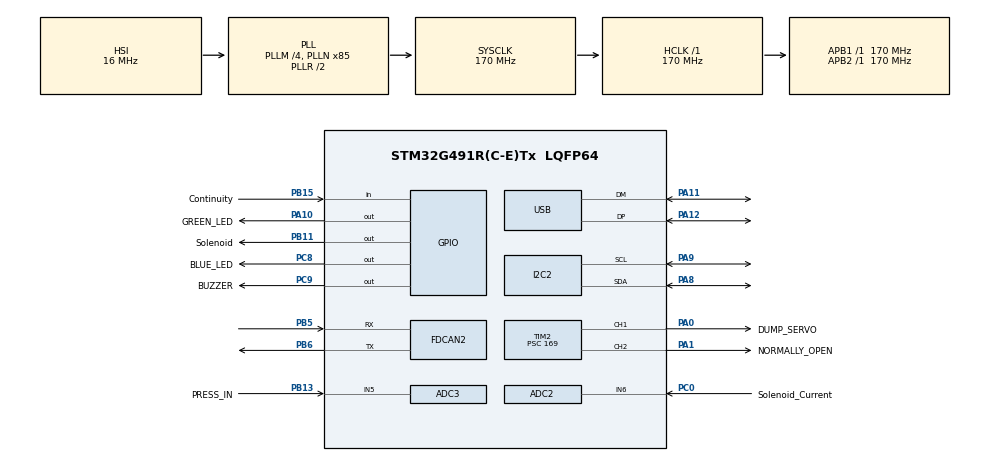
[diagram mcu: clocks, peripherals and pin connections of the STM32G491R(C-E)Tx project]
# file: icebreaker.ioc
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ADC2.Channel-0\#ChannelRegularConversion=ADC_CHANNEL_6
ADC2.NbrOfConversionFlag=1
ADC2.OffsetNumber-0\#ChannelRegularConversion=ADC_OFFSET_NONE
ADC2.Rank-0\#ChannelRegularConversion=1
ADC2.SamplingTime-0\#ChannelRegularConversion=ADC_SAMPLETIME_2CYCLES_5
ADC3.Channel-0\#ChannelRegularConversion=ADC_CHANNEL_5
ADC3.DMAContinuousRequests=ENABLE
ADC3.ExternalTrigConv=ADC_EXTERNALTRIG_T3_TRGO
ADC3.ExternalTrigConvEdge=ADC_EXTERNALTRIGCONVEDGE_RISING
ADC3.NbrOfConversionFlag=1
ADC3.OffsetNumber-0\#ChannelRegularConversion=ADC_OFFSET_NONE
ADC3.Overrun=ADC_OVR_DATA_OVERWRITTEN
ADC3.Rank-0\#ChannelRegularConversion=1
ADC3.SamplingTime-0\#ChannelRegularConversion=ADC_SAMPLETIME_47CYCLES_5
ADC3.master=1
Dma.ADC3.0.Direction=DMA_PERIPH_TO_MEMORY
Dma.ADC3.0.EventEnable=DISABLE
Dma.ADC3.0.Instance=DMA1_Channel1
Dma.ADC3.0.MemDataAlignment=DMA_MDATAALIGN_HALFWORD
Dma.ADC3.0.MemInc=DMA_MINC_ENABLE
Dma.ADC3.0.Mode=DMA_CIRCULAR
Dma.ADC3.0.PeriphDataAlignment=DMA_PDATAALIGN_HALFWORD
Dma.ADC3.0.PeriphInc=DMA_PINC_DISABLE
Dma.ADC3.0.Polarity=HAL_DMAMUX_REQ_GEN_RISING
Dma.ADC3.0.Priority=DMA_PRIORITY_LOW
Dma.ADC3.0.RequestNumber=1
Dma.ADC3.0.SignalID=NONE
Dma.ADC3.0.SyncEnable=DISABLE
Dma.ADC3.0.SyncPolarity=HAL_DMAMUX_SYNC_NO_EVENT
Dma.ADC3.0.SyncRequestNumber=1
Dma.ADC3.0.SyncSignalID=NONE
Dma.Request0=ADC3
FDCAN2.CalculateBaudRateNominal=3541666
FDCAN2.CalculateTimeBitNominal=282
FDCAN2.CalculateTimeQuantumNominal=94.11764705882354
FDCAN2.FrameFormat=FDCAN_FRAME_FD_NO_BRS
FDCAN2.NominalPrescaler=16
FDCAN2.NominalTimeSeg1=1
FDCAN2.NominalTimeSeg2=1
I2C2.Timing=0x00503D58
Mcu.Family=STM32G4
Mcu.Name=STM32G491R(C-E)Tx
Mcu.Package=LQFP64
NVIC.DMA1_Channel1_IRQn=true\:6\:0\:true\:false\:true\:true\:true\:true
NVIC.FDCAN2_IT0_IRQn=true\:6\:0\:true\:false\:true\:true\:true\:true
NVIC.FDCAN2_IT1_IRQn=true\:6\:0\:true\:false\:true\:true\:true\:true
NVIC.PriorityGroup=NVIC_PRIORITYGROUP_4
NVIC.TIM6_DAC_IRQn=true\:15\:0\:false\:false\:true\:false\:true\:true
NVIC.TimeBase=TIM6_DAC_IRQn
NVIC.TimeBaseIP=TIM6
NVIC.USB_LP_IRQn=true\:5\:0\:true\:false\:true\:true\:true\:true
PA0.GPIO_Label=DUMP_SERVO
PA0.Signal=S_TIM2_CH1
PA1.GPIO_Label=NORMALLY_OPEN
PA1.Signal=S_TIM2_CH2
PA10.GPIO_Label=GREEN_LED
PA10.Signal=GPIO_Output
PA11.Mode=Device
PA11.Signal=USB_DM
PA12.Mode=Device
PA12.Signal=USB_DP
PA13.Mode=Serial_Wire
PA13.Signal=SYS_JTMS-SWDIO
PA14.Mode=Serial_Wire
PA14.Signal=SYS_JTCK-SWCLK
PA8.Mode=I2C
PA8.Signal=I2C2_SDA
PA9.Mode=I2C
PA9.Signal=I2C2_SCL
PB11.GPIO_Label=Solenoid
PB11.Signal=GPIO_Output
PB13.GPIO_Label=PRESS_IN
PB13.Mode=IN5-Single-Ended
PB13.Signal=ADC3_IN5
PB15.GPIO_Label=Continuity
PB15.Signal=GPIO_Input
PB5.Mode=FDCAN_Activate
PB5.Signal=FDCAN2_RX
PB6.Mode=FDCAN_Activate
PB6.Signal=FDCAN2_TX
PC0.GPIO_Label=Solenoid_Current
PC0.Mode=IN6-Single-Ended
PC0.Signal=ADC2_IN6
PC14-OSC32_IN.Mode=LSE-External-Oscillator
PC14-OSC32_IN.Signal=RCC_OSC32_IN
PC15-OSC32_OUT.Mode=LSE-External-Oscillator
PC15-OSC32_OUT.Signal=RCC_OSC32_OUT
PC8.GPIO_Label=BLUE_LED
PC8.Signal=GPIO_Output
PC9.GPIO_Label=BUZZER
PC9.Signal=GPIO_Output
PF0-OSC_IN.Mode=HSE-External-Oscillator
PF0-OSC_IN.Signal=RCC_OSC_IN
PF1-OSC_OUT.Mode=HSE-External-Oscillator
PF1-OSC_OUT.Signal=RCC_OSC_OUT
ProjectManager.HeapSize=0x200
ProjectManager.StackSize=0x400
ProjectManager.TargetToolchain=CMake
RCC.ADC12Freq_Value=170000000
RCC.ADC345Freq_Value=170000000
RCC.AHBFreq_Value=170000000
RCC.APB1Freq_Value=170000000
RCC.APB1TimFreq_Value=170000000
RCC.APB2Freq_Value=170000000
RCC.APB2TimFreq_Value=170000000
RCC.CortexFreq_Value=170000000
RCC.EXTERNAL_CLOCK_VALUE=12288000
RCC.HCLKFreq_Value=170000000
RCC.HSE_VALUE=8000000
RCC.HSI48_VALUE=48000000
RCC.HSI_VALUE=16000000
RCC.PLLM=RCC_PLLM_DIV4
RCC.PLLN=85
RCC.SYSCLKFreq_VALUE=170000000
RCC.SYSCLKSource=RCC_SYSCLKSOURCE_PLLCLK
RCC.VCOOutputFreq_Value=340000000
SH.S_TIM2_CH1.0=TIM2_CH1,PWM Generation1 CH1
SH.S_TIM2_CH2.0=TIM2_CH2,PWM Generation2 CH2
STMicroelectronics.X-CUBE-AZRTOS-G4.2.0.0.REG_USBX_DEVICE_CON_CK=1
STMicroelectronics.X-CUBE-AZRTOS-G4.2.0.0.REG_UX_DEVICE_CORE=true
STMicroelectronics.X-CUBE-AZRTOS-G4.2.0.0.TX_APP_GENERATE_INIT_CODE=true
STMicroelectronics.X-CUBE-AZRTOS-G4.2.0.0.TX_APP_MEM_POOL_SIZE=28672
STMicroelectronics.X-CUBE-AZRTOS-G4.2.0.0.TX_TIMER_TICKS_PER_SECOND=1000
STMicroelectronics.X-CUBE-AZRTOS-G4.2.0.0.USBD_CDCACM_EPINCMD_ADDR=2
STMicroelectronics.X-CUBE-AZRTOS-G4.2.0.0.USBD_MANUFACTURER_STRING=UBSEDS
STMicroelectronics.X-CUBE-AZRTOS-G4.2.0.0.USBD_PRODUCT_STRING=Chud Valve Board
STMicroelectronics.X-CUBE-AZRTOS-G4.2.0.0.USBD_SERIAL_NUMBER=67
STMicroelectronics.X-CUBE-AZRTOS-G4.2.0.0.USBX_DEVICE_APP_THREAD_Size=5120
STMicroelectronics.X-CUBE-AZRTOS-G4.2.0.0.USBX_DEVICE_SYS_SIZE=16384
STMicroelectronics.X-CUBE-AZRTOS-G4.2.0.0.UX_DEVICE_APP_MEM_POOL_SIZE=25000
STMicroelectronics.X-CUBE-AZRTOS-G4.2.0.0.UX_SLAVE_REQUEST_DATA_MAX_LENGTH=512
STMicroelectronics.X-CUBE-AZRTOS-G4.2.0.0_IsAnAzureRtosMw=true
TIM2.Channel-PWM\ Generation1\ CH1=TIM_CHANNEL_1
TIM2.Channel-PWM\ Generation2\ CH2=TIM_CHANNEL_2
TIM2.Period=19999
TIM2.Prescaler=169
TIM2.TriggerOutput=TIM_TRGO_RESET
TIM3.Period=999
TIM3.Prescaler=1699
TIM3.TriggerOutput=TIM_TRGO_UPDATE
VP_SYS_VS_DBSignals.Mode=DisableDeadBatterySignals
VP_SYS_VS_tim6.Mode=TIM6
VP_TIM3_VS_ClockSourceINT.Mode=Internal
board=custom

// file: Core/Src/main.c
/* USER CODE BEGIN Header */
/**
  ******************************************************************************
  * @file           : main.c
  * @brief          : Main program body
  ******************************************************************************
  * @attention
  *
  * Copyright (c) 2026 STMicroelectronics.
  * All rights reserved.
  *
  * This software is licensed under terms that can be found in the LICENSE file
  * in the root directory of this software component.
  * If no LICENSE file comes with this software, it is provided AS-IS.
  *
  ******************************************************************************
  */
/* USER CODE END Header */
#include "main.h"

/* USER CODE BEGIN Includes */
#include "delay.h"
/* USER CODE END Includes */

ADC_HandleTypeDef hadc2;
ADC_HandleTypeDef hadc3;
DMA_HandleTypeDef hdma_adc3;

FDCAN_HandleTypeDef hfdcan2;

I2C_HandleTypeDef hi2c2;

TIM_HandleTypeDef htim2;
TIM_HandleTypeDef htim3;

PCD_HandleTypeDef hpcd_USB_FS;

void SystemClock_Config(void);
static void MX_GPIO_Init(void);
static void MX_DMA_Init(void);
static void MX_ADC3_Init(void);
static void MX_I2C2_Init(void);
static void MX_FDCAN2_Init(void);
static void MX_USB_PCD_Init(void);
static void MX_ADC2_Init(void);
static void MX_TIM2_Init(void);
static void MX_TIM3_Init(void);
/* USER CODE BEGIN PFP */
static void servo_pulse(GPIO_TypeDef *port, uint16_t pin, uint32_t pulse_width_us);
/* USER CODE END PFP */

int main(void)
{

  /* MCU Configuration--------------------------------------------------------*/

  /* Reset of all peripherals, Initializes the Flash interface and the Systick. */
  HAL_Init();

  /* Configure the system clock */
  SystemClock_Config();

  /* USER CODE BEGIN SysInit */
  if (!delay_init())
  {
    Error_Handler();
  }
  /* USER CODE END SysInit */

  /* Initialize all configured peripherals */
  MX_GPIO_Init();
  MX_DMA_Init();
  MX_ADC3_Init();
  MX_I2C2_Init();
  MX_FDCAN2_Init();
  MX_USB_PCD_Init();
  MX_ADC2_Init();
  MX_TIM2_Init();
  MX_TIM3_Init();
  /* USER CODE BEGIN 2 */
  GPIO_InitTypeDef servo_GPIO_InitStruct = {0};
  HAL_GPIO_WritePin(GPIOA, GPIO_PIN_1, GPIO_PIN_RESET);
  servo_GPIO_InitStruct.Pin   = GPIO_PIN_1;
  servo_GPIO_InitStruct.Mode  = GPIO_MODE_OUTPUT_PP;
  servo_GPIO_InitStruct.Pull  = GPIO_NOPULL;
  servo_GPIO_InitStruct.Speed = GPIO_SPEED_FREQ_LOW;
  HAL_GPIO_Init(GPIOA, &servo_GPIO_InitStruct);
/* USER CODE END 2 */

  /* Infinite loop */
  while (1)
  {

    /* USER CODE BEGIN 3 */
  }    servo_pulse(GPIOA, GPIO_PIN_1, 1500);
  /* USER CODE END 3 */
}

void SystemClock_Config(void)
{
  RCC_OscInitTypeDef RCC_OscInitStruct = {0};
  RCC_ClkInitTypeDef RCC_ClkInitStruct = {0};

  /** Configure the main internal regulator output voltage
  */
  HAL_PWREx_ControlVoltageScaling(PWR_REGULATOR_VOLTAGE_SCALE1_BOOST);

  /** Initializes the RCC Oscillators according to the specified parameters
  * in the RCC_OscInitTypeDef structure.
  */
  RCC_OscInitStruct.OscillatorType = RCC_OSCILLATORTYPE_HSI|RCC_OSCILLATORTYPE_HSI48;
  RCC_OscInitStruct.HSIState = RCC_HSI_ON;
  RCC_OscInitStruct.HSICalibrationValue = RCC_HSICALIBRATION_DEFAULT;
  RCC_OscInitStruct.HSI48State = RCC_HSI48_ON;
  RCC_OscInitStruct.PLL.PLLState = RCC_PLL_ON;
  RCC_OscInitStruct.PLL.PLLSource = RCC_PLLSOURCE_HSI;
  RCC_OscInitStruct.PLL.PLLM = RCC_PLLM_DIV4;
  RCC_OscInitStruct.PLL.PLLN = 85;
  RCC_OscInitStruct.PLL.PLLP = RCC_PLLP_DIV2;
  RCC_OscInitStruct.PLL.PLLQ = RCC_PLLQ_DIV2;
  RCC_OscInitStruct.PLL.PLLR = RCC_PLLR_DIV2;
  if (HAL_RCC_OscConfig(&RCC_OscInitStruct) != HAL_OK)
  {
    Error_Handler();
  }

  /** Initializes the CPU, AHB and APB buses clocks
  */
  RCC_ClkInitStruct.ClockType = RCC_CLOCKTYPE_HCLK|RCC_CLOCKTYPE_SYSCLK
                              |RCC_CLOCKTYPE_PCLK1|RCC_CLOCKTYPE_PCLK2;
  RCC_ClkInitStruct.SYSCLKSource = RCC_SYSCLKSOURCE_PLLCLK;
  RCC_ClkInitStruct.AHBCLKDivider = RCC_SYSCLK_DIV1;
  RCC_ClkInitStruct.APB1CLKDivider = RCC_HCLK_DIV1;
  RCC_ClkInitStruct.APB2CLKDivider = RCC_HCLK_DIV1;

  if (HAL_RCC_ClockConfig(&RCC_ClkInitStruct, FLASH_LATENCY_4) != HAL_OK)
  {
    Error_Handler();
  }
}

static void MX_ADC2_Init(void)
{

  ADC_ChannelConfTypeDef sConfig = {0};

  /** Common config
  */
  hadc2.Instance = ADC2;
  hadc2.Init.ClockPrescaler = ADC_CLOCK_SYNC_PCLK_DIV4;
  hadc2.Init.Resolution = ADC_RESOLUTION_12B;
  hadc2.Init.DataAlign = ADC_DATAALIGN_RIGHT;
  hadc2.Init.GainCompensation = 0;
  hadc2.Init.ScanConvMode = ADC_SCAN_DISABLE;
  hadc2.Init.EOCSelection = ADC_EOC_SINGLE_CONV;
  hadc2.Init.LowPowerAutoWait = DISABLE;
  hadc2.Init.ContinuousConvMode = DISABLE;
  hadc2.Init.NbrOfConversion = 1;
  hadc2.Init.DiscontinuousConvMode = DISABLE;
  hadc2.Init.ExternalTrigConv = ADC_SOFTWARE_START;
  hadc2.Init.ExternalTrigConvEdge = ADC_EXTERNALTRIGCONVEDGE_NONE;
  hadc2.Init.DMAContinuousRequests = DISABLE;
  hadc2.Init.Overrun = ADC_OVR_DATA_PRESERVED;
  hadc2.Init.OversamplingMode = DISABLE;
  if (HAL_ADC_Init(&hadc2) != HAL_OK)
  {
    Error_Handler();
  }

  /** Configure Regular Channel
  */
  sConfig.Channel = ADC_CHANNEL_6;
  sConfig.Rank = ADC_REGULAR_RANK_1;
  sConfig.SamplingTime = ADC_SAMPLETIME_2CYCLES_5;
  sConfig.SingleDiff = ADC_SINGLE_ENDED;
  sConfig.OffsetNumber = ADC_OFFSET_NONE;
  sConfig.Offset = 0;
  if (HAL_ADC_ConfigChannel(&hadc2, &sConfig) != HAL_OK)
  {
    Error_Handler();
  }

}

static void MX_ADC3_Init(void)
{

  ADC_ChannelConfTypeDef sConfig = {0};

  /** Common config
  */
  hadc3.Instance = ADC3;
  hadc3.Init.ClockPrescaler = ADC_CLOCK_SYNC_PCLK_DIV4;
  hadc3.Init.Resolution = ADC_RESOLUTION_12B;
  hadc3.Init.DataAlign = ADC_DATAALIGN_RIGHT;
  hadc3.Init.GainCompensation = 0;
  hadc3.Init.ScanConvMode = ADC_SCAN_DISABLE;
  hadc3.Init.EOCSelection = ADC_EOC_SINGLE_CONV;
  hadc3.Init.LowPowerAutoWait = DISABLE;
  hadc3.Init.ContinuousConvMode = DISABLE;
  hadc3.Init.NbrOfConversion = 1;
  hadc3.Init.DiscontinuousConvMode = DISABLE;
  hadc3.Init.ExternalTrigConv = ADC_EXTERNALTRIG_T3_TRGO;
  hadc3.Init.ExternalTrigConvEdge = ADC_EXTERNALTRIGCONVEDGE_RISING;
  hadc3.Init.DMAContinuousRequests = ENABLE;
  hadc3.Init.Overrun = ADC_OVR_DATA_OVERWRITTEN;
  hadc3.Init.OversamplingMode = DISABLE;
  if (HAL_ADC_Init(&hadc3) != HAL_OK)
  {
    Error_Handler();
  }

  /** Configure Regular Channel
  */
  sConfig.Channel = ADC_CHANNEL_5;
  sConfig.Rank = ADC_REGULAR_RANK_1;
  sConfig.SamplingTime = ADC_SAMPLETIME_47CYCLES_5;
  sConfig.SingleDiff = ADC_SINGLE_ENDED;
  sConfig.OffsetNumber = ADC_OFFSET_NONE;
  sConfig.Offset = 0;
  if (HAL_ADC_ConfigChannel(&hadc3, &sConfig) != HAL_OK)
  {
    Error_Handler();
  }

}

static void MX_FDCAN2_Init(void)
{

  hfdcan2.Instance = FDCAN2;
  hfdcan2.Init.ClockDivider = FDCAN_CLOCK_DIV1;
  hfdcan2.Init.FrameFormat = FDCAN_FRAME_FD_NO_BRS;
  hfdcan2.Init.Mode = FDCAN_MODE_NORMAL;
  hfdcan2.Init.AutoRetransmission = DISABLE;
  hfdcan2.Init.TransmitPause = DISABLE;
  hfdcan2.Init.ProtocolException = DISABLE;
  hfdcan2.Init.NominalPrescaler = 16;
  hfdcan2.Init.NominalSyncJumpWidth = 1;
  hfdcan2.Init.NominalTimeSeg1 = 1;
  hfdcan2.Init.NominalTimeSeg2 = 1;
  hfdcan2.Init.DataPrescaler = 1;
  hfdcan2.Init.DataSyncJumpWidth = 1;
  hfdcan2.Init.DataTimeSeg1 = 1;
  hfdcan2.Init.DataTimeSeg2 = 1;
  hfdcan2.Init.StdFiltersNbr = 0;
  hfdcan2.Init.ExtFiltersNbr = 0;
  hfdcan2.Init.TxFifoQueueMode = FDCAN_TX_FIFO_OPERATION;
  if (HAL_FDCAN_Init(&hfdcan2) != HAL_OK)
  {
    Error_Handler();
  }

}

static void MX_I2C2_Init(void)
{

  hi2c2.Instance = I2C2;
  hi2c2.Init.Timing = 0x00503D58;
  hi2c2.Init.OwnAddress1 = 0;
  hi2c2.Init.AddressingMode = I2C_ADDRESSINGMODE_7BIT;
  hi2c2.Init.DualAddressMode = I2C_DUALADDRESS_DISABLE;
  hi2c2.Init.OwnAddress2 = 0;
  hi2c2.Init.OwnAddress2Masks = I2C_OA2_NOMASK;
  hi2c2.Init.GeneralCallMode = I2C_GENERALCALL_DISABLE;
  hi2c2.Init.NoStretchMode = I2C_NOSTRETCH_DISABLE;
  if (HAL_I2C_Init(&hi2c2) != HAL_OK)
  {
    Error_Handler();
  }

  /** Configure Analogue filter
  */
  if (HAL_I2CEx_ConfigAnalogFilter(&hi2c2, I2C_ANALOGFILTER_ENABLE) != HAL_OK)
  {
    Error_Handler();
  }

  /** Configure Digital filter
  */
  if (HAL_I2CEx_ConfigDigitalFilter(&hi2c2, 0) != HAL_OK)
  {
    Error_Handler();
  }

}

static void MX_TIM2_Init(void)
{

  TIM_MasterConfigTypeDef sMasterConfig = {0};
  TIM_OC_InitTypeDef sConfigOC = {0};

  htim2.Instance = TIM2;
  htim2.Init.Prescaler = 169;
  htim2.Init.CounterMode = TIM_COUNTERMODE_UP;
  htim2.Init.Period = 19999;
  htim2.Init.ClockDivision = TIM_CLOCKDIVISION_DIV1;
  htim2.Init.AutoReloadPreload = TIM_AUTORELOAD_PRELOAD_DISABLE;
  if (HAL_TIM_PWM_Init(&htim2) != HAL_OK)
  {
    Error_Handler();
  }
  sMasterConfig.MasterOutputTrigger = TIM_TRGO_RESET;
  sMasterConfig.MasterSlaveMode = TIM_MASTERSLAVEMODE_DISABLE;
  if (HAL_TIMEx_MasterConfigSynchronization(&htim2, &sMasterConfig) != HAL_OK)
  {
    Error_Handler();
  }
  sConfigOC.OCMode = TIM_OCMODE_PWM1;
  sConfigOC.Pulse = 0;
  sConfigOC.OCPolarity = TIM_OCPOLARITY_HIGH;
  sConfigOC.OCFastMode = TIM_OCFAST_DISABLE;
  if (HAL_TIM_PWM_ConfigChannel(&htim2, &sConfigOC, TIM_CHANNEL_1) != HAL_OK)
  {
    Error_Handler();
  }
  if (HAL_TIM_PWM_ConfigChannel(&htim2, &sConfigOC, TIM_CHANNEL_2) != HAL_OK)
  {
    Error_Handler();
  }
  /* USER CODE BEGIN TIM2_Init 2 */
  sMasterConfig.MasterOutputTrigger = TIM_TRGO_RESET;
  sMasterConfig.MasterSlaveMode = TIM_MASTERSLAVEMODE_DISABLE;
  if (HAL_TIMEx_MasterConfigSynchronization(&htim2, &sMasterConfig) != HAL_OK)
  {
    Error_Handler();
  }

  /* USER CODE END TIM2_Init 2 */
  HAL_TIM_MspPostInit(&htim2);

}

static void MX_TIM3_Init(void)
{

  TIM_ClockConfigTypeDef sClockSourceConfig = {0};
  TIM_MasterConfigTypeDef sMasterConfig = {0};

  htim3.Instance = TIM3;
  htim3.Init.Prescaler = 1699;
  htim3.Init.CounterMode = TIM_COUNTERMODE_UP;
  htim3.Init.Period = 999;
  htim3.Init.ClockDivision = TIM_CLOCKDIVISION_DIV1;
  htim3.Init.AutoReloadPreload = TIM_AUTORELOAD_PRELOAD_DISABLE;
  if (HAL_TIM_Base_Init(&htim3) != HAL_OK)
  {
    Error_Handler();
  }
  sClockSourceConfig.ClockSource = TIM_CLOCKSOURCE_INTERNAL;
  if (HAL_TIM_ConfigClockSource(&htim3, &sClockSourceConfig) != HAL_OK)
  {
    Error_Handler();
  }
  sMasterConfig.MasterOutputTrigger = TIM_TRGO_RESET;
  sMasterConfig.MasterSlaveMode = TIM_MASTERSLAVEMODE_DISABLE;
  if (HAL_TIMEx_MasterConfigSynchronization(&htim3, &sMasterConfig) != HAL_OK)
  {
    Error_Handler();
  }
  /* USER CODE BEGIN TIM3_Init 2 */
  sMasterConfig.MasterOutputTrigger = TIM_TRGO_UPDATE;
  sMasterConfig.MasterSlaveMode = TIM_MASTERSLAVEMODE_DISABLE;
  if (HAL_TIMEx_MasterConfigSynchronization(&htim3, &sMasterConfig) != HAL_OK)
  {
    Error_Handler();
  }

  /* USER CODE END TIM3_Init 2 */

}

static void MX_USB_PCD_Init(void)
{

  hpcd_USB_FS.Instance = USB;
  hpcd_USB_FS.Init.dev_endpoints = 8;
  hpcd_USB_FS.Init.speed = PCD_SPEED_FULL;
  hpcd_USB_FS.Init.phy_itface = PCD_PHY_EMBEDDED;
  hpcd_USB_FS.Init.Sof_enable = DISABLE;
  hpcd_USB_FS.Init.low_power_enable = DISABLE;
  hpcd_USB_FS.Init.lpm_enable = DISABLE;
  hpcd_USB_FS.Init.battery_charging_enable = DISABLE;
  if (HAL_PCD_Init(&hpcd_USB_FS) != HAL_OK)
  {
    Error_Handler();
  }

}

static void MX_DMA_Init(void)
{

  /* DMA controller clock enable */
  __HAL_RCC_DMAMUX1_CLK_ENABLE();
  __HAL_RCC_DMA1_CLK_ENABLE();

  /* DMA interrupt init */
  /* DMA1_Channel1_IRQn interrupt configuration */
  HAL_NVIC_SetPriority(DMA1_Channel1_IRQn, 6, 0);
  HAL_NVIC_EnableIRQ(DMA1_Channel1_IRQn);

}

static void MX_GPIO_Init(void)
{
  GPIO_InitTypeDef GPIO_InitStruct = {0};

  /* GPIO Ports Clock Enable */
  __HAL_RCC_GPIOC_CLK_ENABLE();
  __HAL_RCC_GPIOF_CLK_ENABLE();
  __HAL_RCC_GPIOA_CLK_ENABLE();
  __HAL_RCC_GPIOB_CLK_ENABLE();

  /*Configure GPIO pin Output Level */
  HAL_GPIO_WritePin(Solenoid_GPIO_Port, Solenoid_Pin, GPIO_PIN_RESET);

  /*Configure GPIO pin Output Level */
  HAL_GPIO_WritePin(GPIOC, BLUE_LED_Pin|BUZZER_Pin, GPIO_PIN_RESET);

  /*Configure GPIO pin Output Level */
  HAL_GPIO_WritePin(GREEN_LED_GPIO_Port, GREEN_LED_Pin, GPIO_PIN_RESET);

  /*Configure GPIO pin : Solenoid_Pin */
  GPIO_InitStruct.Pin = Solenoid_Pin;
  GPIO_InitStruct.Mode = GPIO_MODE_OUTPUT_PP;
  GPIO_InitStruct.Pull = GPIO_NOPULL;
  GPIO_InitStruct.Speed = GPIO_SPEED_FREQ_LOW;
  HAL_GPIO_Init(Solenoid_GPIO_Port, &GPIO_InitStruct);

  /*Configure GPIO pin : Continuity_Pin */
  GPIO_InitStruct.Pin = Continuity_Pin;
  GPIO_InitStruct.Mode = GPIO_MODE_INPUT;
  GPIO_InitStruct.Pull = GPIO_NOPULL;
  HAL_GPIO_Init(Continuity_GPIO_Port, &GPIO_InitStruct);

  /*Configure GPIO pins : BLUE_LED_Pin BUZZER_Pin */
  GPIO_InitStruct.Pin = BLUE_LED_Pin|BUZZER_Pin;
  GPIO_InitStruct.Mode = GPIO_MODE_OUTPUT_PP;
  GPIO_InitStruct.Pull = GPIO_NOPULL;
  GPIO_InitStruct.Speed = GPIO_SPEED_FREQ_LOW;
  HAL_GPIO_Init(GPIOC, &GPIO_InitStruct);

  /*Configure GPIO pin : GREEN_LED_Pin */
  GPIO_InitStruct.Pin = GREEN_LED_Pin;
  GPIO_InitStruct.Mode = GPIO_MODE_OUTPUT_PP;
  GPIO_InitStruct.Pull = GPIO_NOPULL;
  GPIO_InitStruct.Speed = GPIO_SPEED_FREQ_LOW;
  HAL_GPIO_Init(GREEN_LED_GPIO_Port, &GPIO_InitStruct);

}

/* USER CODE BEGIN 4 */
static void servo_pulse(GPIO_TypeDef *port, uint16_t pin, uint32_t pulse_width_us)
{
  if (pulse_width_us < 500U)
  {
    pulse_width_us = 500U;
  }
  else if (pulse_width_us > 2500U)
  {
    pulse_width_us = 2500U;
  }

  HAL_GPIO_WritePin(port, pin, GPIO_PIN_SET);
  delay_us(pulse_width_us);

  HAL_GPIO_WritePin(port, pin, GPIO_PIN_RESET);
  delay_us(20000U - pulse_width_us);
}
/* USER CODE END 4 */

void HAL_TIM_PeriodElapsedCallback(TIM_HandleTypeDef *htim)
{
  if (htim->Instance == TIM6)
  {
    HAL_IncTick();
  }
}

void Error_Handler(void)
{
  __disable_irq();
  while (1)
  {
  }
}
